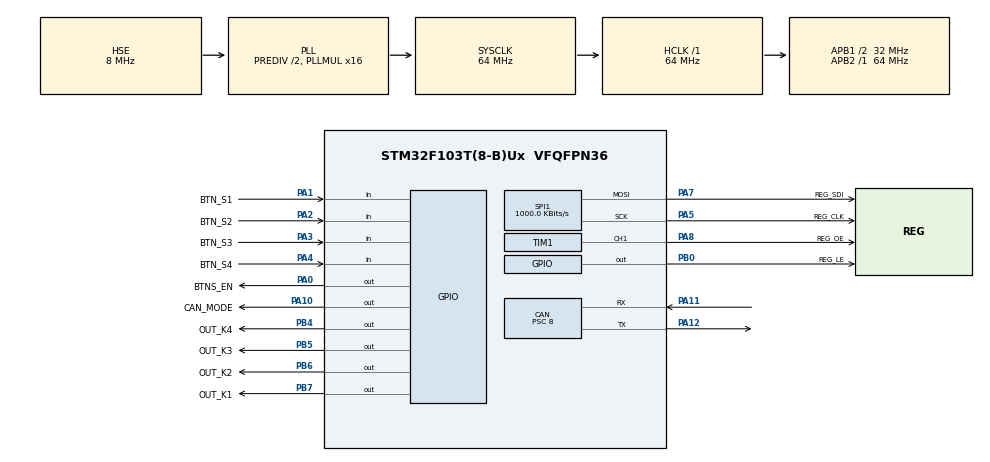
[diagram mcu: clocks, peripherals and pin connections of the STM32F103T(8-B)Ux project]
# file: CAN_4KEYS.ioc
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CAN.ABOM=ENABLE
CAN.BS1=CAN_BS1_11TQ
CAN.BS2=CAN_BS2_4TQ
CAN.CalculateBaudRate=250000
CAN.CalculateTimeBit=4000
CAN.CalculateTimeQuantum=250.0
CAN.Prescaler=8
CAN.SJW=CAN_SJW_2TQ
Mcu.Family=STM32F1
Mcu.Name=STM32F103T(8-B)Ux
Mcu.Package=VFQFPN36
NVIC.CAN1_SCE_IRQn=true\:0\:0\:false\:false\:true\:true\:true
NVIC.PriorityGroup=NVIC_PRIORITYGROUP_4
NVIC.TIM2_IRQn=true\:0\:0\:false\:false\:true\:true\:true
NVIC.USB_HP_CAN1_TX_IRQn=true\:0\:0\:false\:false\:true\:true\:true
NVIC.USB_LP_CAN1_RX0_IRQn=true\:0\:0\:false\:false\:true\:true\:true
PA0-WKUP.GPIO_Label=BTNS_EN
PA0-WKUP.Signal=GPIO_Output
PA1.GPIO_Label=BTN_S1
PA1.GPIO_PuPd=GPIO_PULLDOWN
PA1.Signal=GPIO_Input
PA10.GPIO_Label=CAN_MODE
PA10.Signal=GPIO_Output
PA11.Mode=CAN_Activate
PA11.Signal=CAN_RX
PA12.Mode=CAN_Activate
PA12.Signal=CAN_TX
PA13.Mode=Serial_Wire
PA13.Signal=SYS_JTMS-SWDIO
PA14.Mode=Serial_Wire
PA14.Signal=SYS_JTCK-SWCLK
PA2.GPIO_Label=BTN_S2
PA2.GPIO_PuPd=GPIO_PULLDOWN
PA2.Signal=GPIO_Input
PA3.GPIO_Label=BTN_S3
PA3.GPIO_PuPd=GPIO_PULLDOWN
PA3.Signal=GPIO_Input
PA4.GPIO_Label=BTN_S4
PA4.GPIO_PuPd=GPIO_PULLDOWN
PA4.Signal=GPIO_Input
PA5.GPIO_Label=REG_CLK
PA5.Mode=TX_Only_Simplex_Unidirect_Master
PA5.Signal=SPI1_SCK
PA7.GPIO_Label=REG_SDI
PA7.Mode=TX_Only_Simplex_Unidirect_Master
PA7.Signal=SPI1_MOSI
PA8.GPIO_Label=REG_OE
PA8.Signal=S_TIM1_CH1
PB0.GPIO_Label=REG_LE
PB0.PinState=GPIO_PIN_SET
PB0.Signal=GPIO_Output
PB4.GPIO_Label=OUT_K4
PB4.GPIO_ModeDefaultOutputPP=GPIO_MODE_OUTPUT_OD
PB4.GPIO_PuPd=GPIO_NOPULL
PB4.GPIO_Speed=GPIO_SPEED_FREQ_MEDIUM
PB4.PinState=GPIO_PIN_SET
PB4.Signal=GPIO_Output
PB5.GPIO_Label=OUT_K3
PB5.GPIO_ModeDefaultOutputPP=GPIO_MODE_OUTPUT_OD
PB5.GPIO_PuPd=GPIO_NOPULL
PB5.GPIO_Speed=GPIO_SPEED_FREQ_MEDIUM
PB5.PinState=GPIO_PIN_SET
PB5.Signal=GPIO_Output
PB6.GPIO_Label=OUT_K2
PB6.GPIO_ModeDefaultOutputPP=GPIO_MODE_OUTPUT_OD
PB6.GPIO_PuPd=GPIO_NOPULL
PB6.GPIO_Speed=GPIO_SPEED_FREQ_MEDIUM
PB6.PinState=GPIO_PIN_SET
PB6.Signal=GPIO_Output
PB7.GPIO_Label=OUT_K1
PB7.GPIO_ModeDefaultOutputPP=GPIO_MODE_OUTPUT_OD
PB7.GPIO_PuPd=GPIO_NOPULL
PB7.GPIO_Speed=GPIO_SPEED_FREQ_MEDIUM
PB7.PinState=GPIO_PIN_SET
PB7.Signal=GPIO_Output
PD0-OSC_IN.Mode=HSE-External-Oscillator
PD0-OSC_IN.Signal=RCC_OSC_IN
PD1-OSC_OUT.Mode=HSE-External-Oscillator
PD1-OSC_OUT.Signal=RCC_OSC_OUT
ProjectManager.HeapSize=0x200
ProjectManager.StackSize=0x400
ProjectManager.TargetToolchain=STM32CubeIDE
RCC.AHBFreq_Value=64000000
RCC.APB1CLKDivider=RCC_HCLK_DIV2
RCC.APB1Freq_Value=32000000
RCC.APB1TimFreq_Value=64000000
RCC.APB2Freq_Value=64000000
RCC.APB2TimFreq_Value=64000000
RCC.HCLKFreq_Value=64000000
RCC.HSEDivPLL=RCC_HSE_PREDIV_DIV2
RCC.PLLMUL=RCC_PLL_MUL16
RCC.PLLSourceVirtual=RCC_PLLSOURCE_HSE
RCC.SYSCLKFreq_VALUE=64000000
RCC.SYSCLKSource=RCC_SYSCLKSOURCE_PLLCLK
RCC.USBFreq_Value=64000000
SH.S_TIM1_CH1.0=TIM1_CH1,PWM Generation1 CH1
SPI1.BaudRatePrescaler=SPI_BAUDRATEPRESCALER_64
SPI1.CalculateBaudRate=1000.0 KBits/s
SPI1.DataSize=SPI_DATASIZE_8BIT
SPI1.Direction=SPI_DIRECTION_2LINES
SPI1.Mode=SPI_MODE_MASTER
SPI1.VirtualType=VM_MASTER
TIM1.Channel-PWM\ Generation1\ CH1=TIM_CHANNEL_1
TIM1.OCMode_PWM-PWM\ Generation1\ CH1=TIM_OCMODE_PWM1
TIM1.OCPolarity_1=TIM_OCPOLARITY_LOW
TIM1.Period=253
TIM1.Prescaler=63
TIM2.ClockDivision=TIM_CLOCKDIVISION_DIV1
TIM2.Period=2000
TIM2.Prescaler=63
VP_IWDG_VS_IWDG.Mode=IWDG_Activate
VP_TIM1_VS_ClockSourceINT.Mode=Internal
VP_TIM2_VS_ClockSourceINT.Mode=Internal
board=custom

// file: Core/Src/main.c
/* USER CODE BEGIN Header */
/**
  ******************************************************************************
  * @file           : main.c
  * @brief          : Main program body
  ******************************************************************************
  * @attention
  *
  * Copyright (c) 2022 STMicroelectronics.
  * All rights reserved.
  *
  * This software is licensed under terms that can be found in the LICENSE file
  * in the root directory of this software component.
  * If no LICENSE file comes with this software, it is provided AS-IS.
  *
  ******************************************************************************
  */
/* USER CODE END Header */
#include "main.h"
#include "can.h"
#include "spi.h"
#include "tim.h"
#include "gpio.h"

/* USER CODE BEGIN Includes */

#include "Board.h"
#include "Buttons.h"
#include "LEDs.h"
#include "J1939.h"

#ifndef DEBUG
#include "iwdg.h"
#endif

/* USER CODE END Includes */

void SystemClock_Config(void);

/* USER CODE BEGIN 0 */

void HAL_TIM_PeriodElapsedCallback(TIM_HandleTypeDef *htim) {

	if ( &htim2 == htim )
	{
		LEDsHandler();
	} //if
}
/* USER CODE END 0 */

int main(void)
{
  /* USER CODE BEGIN 1 */

  __disable_irq ();

  /* USER CODE END 1 */

  /* MCU Configuration--------------------------------------------------------*/

  /* Reset of all peripherals, Initializes the Flash interface and the Systick. */
  HAL_Init();

  /* Configure the system clock */
  SystemClock_Config();

  /* Initialize all configured peripherals */
  MX_GPIO_Init();
  MX_CAN_Init();
  MX_SPI1_Init();
  MX_TIM1_Init();
  MX_TIM2_Init();
  /* USER CODE BEGIN 2 */

#ifndef DEBUG
  MX_IWDG_Init();
#endif

  int32_t RetVal = CAN_Node_Init();
  if ( RetVal != 0 )
  {
	  Error_Handler();
  } //if

  _ENABLE_BTNS;
  HAL_TIM_Base_Start_IT( &htim2 );
  HAL_TIM_PWM_Start_IT( &htim1, TIM_CHANNEL_1 );

  __enable_irq ();

  HAL_Delay( 200 );

  volatile static uint32_t Tick1msCntr;

  /* USER CODE END 2 */

  /* Infinite loop */
  /* USER CODE BEGIN WHILE */
  while (1)
  {

#ifndef DEBUG
	HAL_IWDG_Refresh(&hiwdg);
#endif

    /* USER CODE END WHILE */

    /* USER CODE BEGIN 3 */

	if ( Tick1msCntr != HAL_GetTick() )
	{
		Tick1msCntr = HAL_GetTick();

		ButtonsHandler();

		CAN_J1939_Step();

	} //if
  }
  /* USER CODE END 3 */
}

void SystemClock_Config(void)
{
  RCC_OscInitTypeDef RCC_OscInitStruct = {0};
  RCC_ClkInitTypeDef RCC_ClkInitStruct = {0};

  /** Initializes the RCC Oscillators according to the specified parameters
  * in the RCC_OscInitTypeDef structure.
  */
  RCC_OscInitStruct.OscillatorType = RCC_OSCILLATORTYPE_LSI|RCC_OSCILLATORTYPE_HSE;
  RCC_OscInitStruct.HSEState = RCC_HSE_ON;
  RCC_OscInitStruct.HSEPredivValue = RCC_HSE_PREDIV_DIV2;
  RCC_OscInitStruct.HSIState = RCC_HSI_ON;
  RCC_OscInitStruct.LSIState = RCC_LSI_ON;
  RCC_OscInitStruct.PLL.PLLState = RCC_PLL_ON;
  RCC_OscInitStruct.PLL.PLLSource = RCC_PLLSOURCE_HSE;
  RCC_OscInitStruct.PLL.PLLMUL = RCC_PLL_MUL16;
  if (HAL_RCC_OscConfig(&RCC_OscInitStruct) != HAL_OK)
  {
    Error_Handler();
  }
  /** Initializes the CPU, AHB and APB buses clocks
  */
  RCC_ClkInitStruct.ClockType = RCC_CLOCKTYPE_HCLK|RCC_CLOCKTYPE_SYSCLK
                              |RCC_CLOCKTYPE_PCLK1|RCC_CLOCKTYPE_PCLK2;
  RCC_ClkInitStruct.SYSCLKSource = RCC_SYSCLKSOURCE_PLLCLK;
  RCC_ClkInitStruct.AHBCLKDivider = RCC_SYSCLK_DIV1;
  RCC_ClkInitStruct.APB1CLKDivider = RCC_HCLK_DIV2;
  RCC_ClkInitStruct.APB2CLKDivider = RCC_HCLK_DIV1;

  if (HAL_RCC_ClockConfig(&RCC_ClkInitStruct, FLASH_LATENCY_2) != HAL_OK)
  {
    Error_Handler();
  }
}

void Error_Handler(void)
{
  __disable_irq();
  while (1)
  {
  }
}
